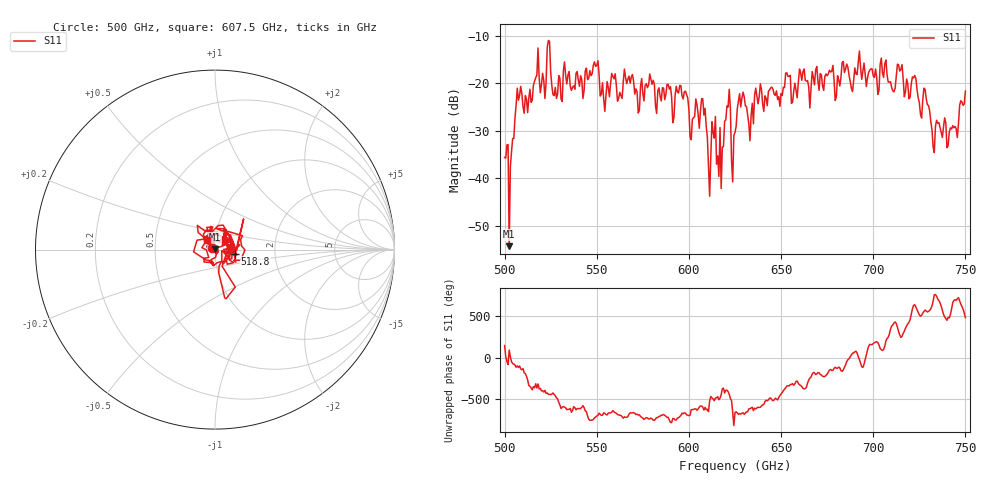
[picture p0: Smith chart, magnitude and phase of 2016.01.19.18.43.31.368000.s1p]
!Created with skrf (http://scikit-rf.org).
# GHz S RI R 50.0
!freq ReS11 ImS11
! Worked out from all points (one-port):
!   401 points, 500 GHz to 750 GHz, reference 50 ohm
!   lowest |S11| = -54.3 dB at 502.5 GHz (marker M1), VSWR 1.00, Z = 50 + j0.192 ohm
!   |S11| at or under -10 dB: start of sweep to end of sweep
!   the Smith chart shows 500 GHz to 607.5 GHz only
!   S11 on the Smith chart (normalised r, x): 500 GHz: 0.97, +0.02; 518.8 GHz: 1.25, -0.06; 607.5 GHz: 0.91, +0.10
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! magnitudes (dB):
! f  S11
! 500 GHz  -35.6
! 502.5 GHz  -54.3
! 507.5 GHz  -23.6
! 518.8 GHz  -18.8
! 523.8 GHz  -11.0
! 526.9 GHz  -22.6
! 531.2 GHz  -23.9
! 549.4 GHz  -16.5
! 553.1 GHz  -19.9
! 562.5 GHz  -21.9
! 593.8 GHz  -21.8
! 601.9 GHz  -27.6
! 607.5 GHz  -23.3
! 610.6 GHz  -37.3
! 613.1 GHz  -30.3
! 617.5 GHz  -42.2
! 621.2 GHz  -25.0
! 625 GHz  -30.4
! 628.1 GHz  -25.0
! 633.8 GHz  -26.8
! 637.5 GHz  -24.4
! 656.2 GHz  -24.0
! 687.5 GHz  -19.6
! 714.4 GHz  -17.5
! 718.8 GHz  -20.2
! 728.8 GHz  -23.3
! 732.5 GHz  -33.5
! 750 GHz  -21.7
